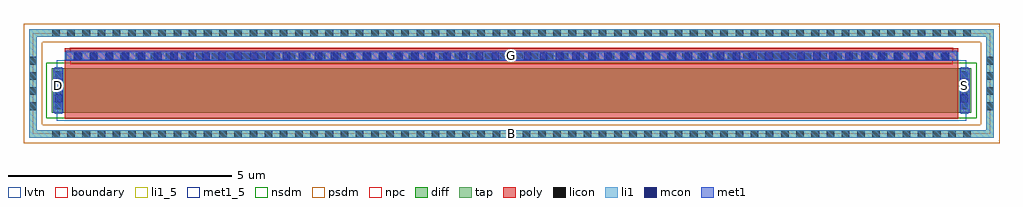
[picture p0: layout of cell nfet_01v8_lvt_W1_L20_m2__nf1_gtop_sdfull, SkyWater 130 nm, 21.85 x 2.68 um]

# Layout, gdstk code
import gdstk
lib = gdstk.Library(unit=1e-6, precision=1e-09)
def R(c, l, rs):  # rectangles x0, y0, x1, y1
    for r in rs: c.add(gdstk.rectangle(r[:2], r[2:], *l))
def A(c, l, x, y, w, h, nx, ny, dx, dy):  # array of equal rectangles
    R(c, l, [(x+i*dx, y+j*dy, x+i*dx+w, y+j*dy+h) for i in range(nx) for j in range(ny)])
diff = (65, 20)
tap = (65, 44)
poly = (66, 20)
licon = (66, 44)
li1_5 = (67, 5)
li1 = (67, 20)
mcon = (67, 44)
met1_5 = (68, 5)
met1 = (68, 20)
nsdm = (93, 44)
psdm = (94, 20)
npc = (95, 20)
lvtn = (125, 44)
boundary = (235, 4)

sky130_fd_pr__nfet_01v8_ = lib.new_cell('sky130_fd_pr__nfet_01v8_lvt_PJM2JV')
R(sky130_fd_pr__nfet_01v8_, diff, [(-10.29,-0.655,10.29,0.345)])
R(sky130_fd_pr__nfet_01v8_, tap, [(-10.8,-1.215,10.8,-1.045), (-10.8,-1.045,-10.63,1.045), (10.63,-1.045,10.8,1.045), (-10.8,1.045,10.8,1.215)])
R(sky130_fd_pr__nfet_01v8_, poly, [(-10,-0.785,10,0.785)])
A(sky130_fd_pr__nfet_01v8_, licon, -10.285, -1.215, 0.17, 0.17, 61, 2, 0.34, 2.26)
A(sky130_fd_pr__nfet_01v8_, licon, -10.8, -0.595, 0.17, 0.17, 1, 4, 0, 0.34)
A(sky130_fd_pr__nfet_01v8_, licon, 10.63, -0.595, 0.17, 0.17, 1, 4, 0, 0.34)
A(sky130_fd_pr__nfet_01v8_, licon, -10.23, -0.58, 0.17, 0.17, 1, 3, 0, 0.34)
A(sky130_fd_pr__nfet_01v8_, licon, 10.06, -0.58, 0.17, 0.17, 1, 3, 0, 0.34)
A(sky130_fd_pr__nfet_01v8_, licon, -9.775, 0.535, 0.17, 0.17, 58, 1, 0.34, 0)
R(sky130_fd_pr__nfet_01v8_, li1, [(-10.8,-1.215,10.8,-1.045), (-10.8,-1.045,-10.63,1.045), (10.63,-1.045,10.8,1.045), (-10.23,-0.675,-10.06,0.365), (10.06,-0.675,10.23,0.365), (-10,0.535,10,0.705), (-10.8,1.045,10.8,1.215)])
A(sky130_fd_pr__nfet_01v8_, mcon, -9.805, 0.535, 0.17, 0.17, 55, 1, 0.36, 0)
R(sky130_fd_pr__nfet_01v8_, mcon, [(-10.23,-0.42,-10.06,-0.25), (10.06,-0.42,10.23,-0.25), (-10.23,-0.06,-10.06,0.11), (10.06,-0.06,10.23,0.11)])
R(sky130_fd_pr__nfet_01v8_, met1, [(-10.26,-0.655,-10.03,0.345), (10.03,-0.655,10.26,0.345), (-9.98,0.505,9.98,0.735)])
R(sky130_fd_pr__nfet_01v8_, nsdm, [(-10.415,-0.78,10.415,0.47)])
R(sky130_fd_pr__nfet_01v8_, psdm, [(-10.925,-1.34,10.925,-0.92), (-10.925,-0.92,-10.505,0.92), (10.505,-0.92,10.925,0.92), (-10.925,0.92,10.925,1.34)])
R(sky130_fd_pr__nfet_01v8_, npc, [(-9.875,0.435,9.875,0.805)])
R(sky130_fd_pr__nfet_01v8_, lvtn, [(-10.18,-0.835,10.18,0.525)])
R(sky130_fd_pr__nfet_01v8_, boundary, [(-10.715,-1.13,10.715,1.13)])
sky130_fd_pr__nfet_01v8_.add(gdstk.Label('B', (0,-1.13), layer=67, texttype=5))
sky130_fd_pr__nfet_01v8_.add(gdstk.Label('D', (-10.145,-0.155), layer=67, texttype=5))
sky130_fd_pr__nfet_01v8_.add(gdstk.Label('S', (10.145,-0.155), layer=67, texttype=5))
sky130_fd_pr__nfet_01v8_.add(gdstk.Label('G', (0,0.62), layer=67, texttype=5))

nfet_01v8_lvt_w1_l20_m2_ = lib.new_cell('nfet_01v8_lvt_W1_L20_m2__nf1_gtop_sdfull')
R(nfet_01v8_lvt_w1_l20_m2_, li1_5, [(10.63,-0.085,10.8,0.085)])
R(nfet_01v8_lvt_w1_l20_m2_, li1, [(10.63,-0.085,10.8,0.085)])
R(nfet_01v8_lvt_w1_l20_m2_, met1_5, [(0.455,0.975,0.685,1.175), (20.745,0.975,20.975,1.175), (0.735,1.635,20.695,1.865)])
R(nfet_01v8_lvt_w1_l20_m2_, met1, [(0.455,0.975,0.685,1.175), (20.745,0.975,20.975,1.175), (0.735,1.635,20.695,1.865)])
nfet_01v8_lvt_w1_l20_m2_.add(gdstk.Reference(sky130_fd_pr__nfet_01v8_, (10.715,1.13)))
nfet_01v8_lvt_w1_l20_m2_.add(gdstk.Label('D', (0.57,1.075), layer=68, texttype=5))
nfet_01v8_lvt_w1_l20_m2_.add(gdstk.Label('S', (20.86,1.075), layer=68, texttype=5))
nfet_01v8_lvt_w1_l20_m2_.add(gdstk.Label('G', (10.715,1.75), layer=68, texttype=5))
nfet_01v8_lvt_w1_l20_m2_.add(gdstk.Label('B', (10.715,0), layer=67, texttype=5))

lib.write_gds('nfet_01v8_lvt_W1_L20_m2__nf1_gtop_sdfull.gds')
